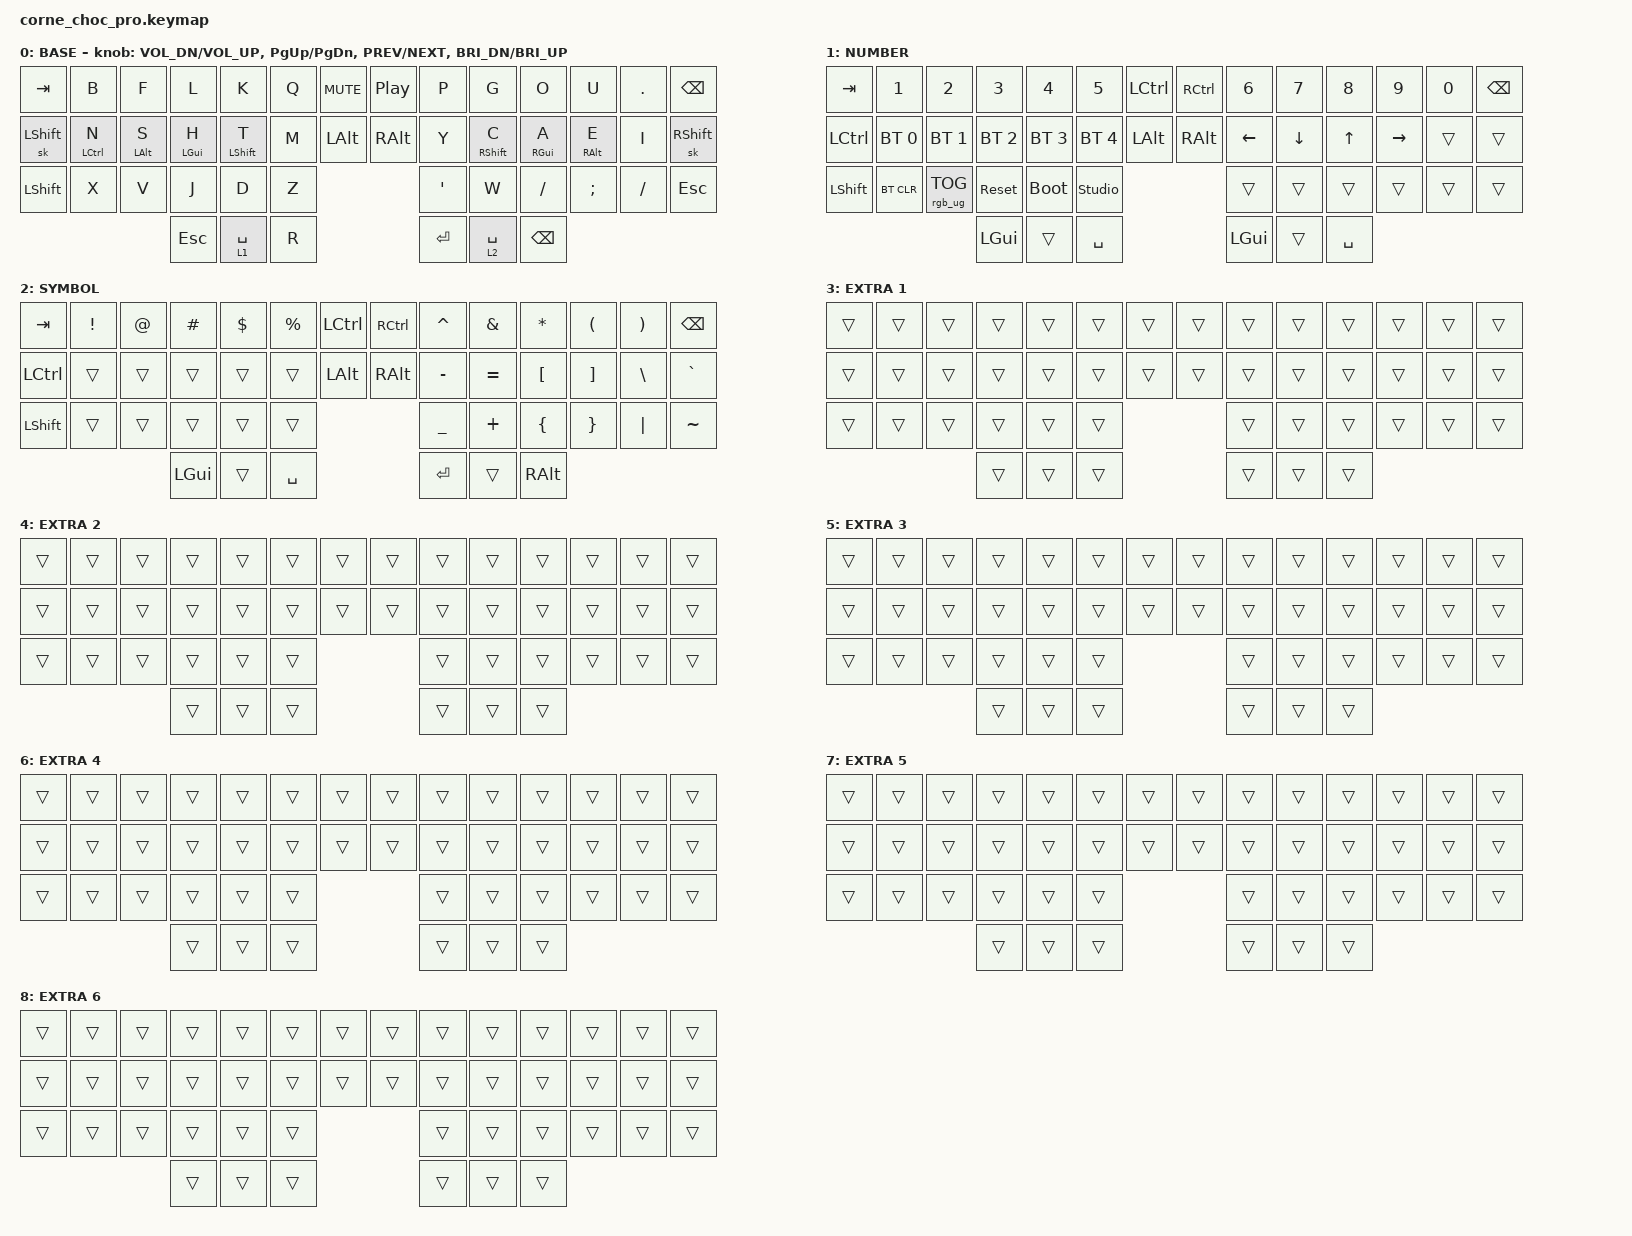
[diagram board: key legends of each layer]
/*
 * Copyright (c) 2020 The ZMK Contributors
 *
 * SPDX-License-Identifier: MIT
 */

#include <behaviors.dtsi>
#include <dt-bindings/zmk/bt.h>
#include <dt-bindings/zmk/keys.h>
#include <dt-bindings/zmk/rgb.h>

/ {
    chosen { zmk,physical-layout = &default_layout; };
};

/ {
    behaviors {
        HMShiftR: HMShiftR {
            compatible = "zmk,behavior-hold-tap";
            label = "HMSHIFTR";
            bindings = <&kp>, <&kp>;

            #binding-cells = <2>;
            tapping-term-ms = <200>;
            hold-while-undecided;
            hold-trigger-key-positions = <0 1 2 3 4 5 6 14 15 16 17 18 19 20 28 29 30 31 32 33 40 41 42>;
            hold-trigger-on-release;
        };

        HMShiftL: HMShiftL {
            compatible = "zmk,behavior-hold-tap";
            label = "HMSHIFTL";
            bindings = <&kp>, <&kp>;

            #binding-cells = <2>;
            tapping-term-ms = <200>;
            hold-while-undecided;
            hold-trigger-on-release;
            hold-trigger-key-positions = <7 8 9 10 11 12 13 21 22 23 24 25 26 27 34 35 36 37 38 39 43 44 45>;
        };

        HMR: HMR {
            compatible = "zmk,behavior-hold-tap";
            label = "HMR";
            bindings = <&kp>, <&kp>;

            #binding-cells = <2>;
            tapping-term-ms = <200>;
            hold-while-undecided;
            hold-trigger-key-positions = <0 1 2 3 4 5 6 14 15 16 17 18 19 20 28 29 30 31 32 33 40 41 42>;
            hold-trigger-on-release;
            flavor = "tap-preferred";
        };

        HML: HML {
            compatible = "zmk,behavior-hold-tap";
            label = "HML";
            bindings = <&kp>, <&kp>;

            #binding-cells = <2>;
            tapping-term-ms = <200>;
            hold-while-undecided;
            hold-trigger-on-release;
            hold-trigger-key-positions = <7 8 9 10 11 12 13 21 22 23 24 25 26 27 34 35 36 37 38 39 43 44 45>;
            flavor = "tap-preferred";
        };
    };

    combos {
        compatible = "zmk,combos";

        ret {
            bindings = <&kp RETURN>;
            key-positions = <18 17 16>;
            timeout-ms = <30>;
            require-prior-idle-ms = <50>;
            layers = <0>;
        };
    };

    keymap {
        compatible = "zmk,keymap";

        default_layer {
            display-name = "BASE";

            // --------------------------------------------------------------------------------
            // |  TAB |  Q  |  W  |  E  |  R  |  T  |  MUTE |  PP   |  Y  |  U   |  I  |  O  |  P  | BSPC |
            // | CTRL |  A  |  S  |  D  |  F  |  G  |  LALT |  RALT |  H  |  J   |  K  |  L  |  ;  |  '   |
            // | SHFT |  Z  |  X  |  C  |  V  |  B  |               |  N  |  M   |  ,  |  .  |  /  | ESC  |
            //                    | GUI | LWR | SPC |               | ENT | RSE  | ALT |

            bindings = <
&kp TAB         &kp B                &kp F            &kp L            &kp K                   &kp Q  &kp C_MUTE  &kp C_PP  &kp P    &kp G                    &kp O             &kp U             &kp PERIOD  &kp BSPC
&sk LEFT_SHIFT  &HML LEFT_CONTROL N  &HML LEFT_ALT S  &HML LEFT_GUI H  &HMShiftL LEFT_SHIFT T  &kp M  &kp LALT    &kp RALT  &kp Y    &HMShiftR RIGHT_SHIFT C  &HMR RIGHT_GUI A  &HMR RIGHT_ALT E  &kp I       &sk RIGHT_SHIFT
&kp LSHFT       &kp X                &kp V            &kp J            &kp D                   &kp Z                        &kp SQT  &kp W                    &kp SLASH         &kp SEMICOLON     &kp FSLH    &kp ESC
                                                      &kp ESCAPE       &lt 1 SPACE             &kp R                        &kp RET  &lt 2 SPACE              &kp BACKSPACE
            >;

            sensor-bindings = <&inc_dec_kp C_VOL_DN C_VOL_UP &inc_dec_kp PG_UP PG_DN &inc_dec_kp C_PREV C_NEXT &inc_dec_kp C_BRI_DN C_BRI_UP>;
        };

        lower_layer {
            display-name = "NUMBER";

            // -----------------------------------------------------------------------------------------
            // |  TAB |  1  |  2  |  3  |  4  |  5    |  LCTRL | RCTRL |  6  |  7  |  8  |  9  |  0  | BSPC |
            // | CTRL | BT1 | BT2 | BT3 | BT4 | BT5   |  LALT  | RALT  | LFT | DWN |  UP | RGT |     |      |
            // | SHFT | BTCR| RGB | RST | BOOT| Unlock|        |       |     |     |     |     |     |      |
            //                    | GUI |     | SPC   |        | ENT   |     | ALT |

            bindings = <
&kp TAB    &kp N1        &kp N2           &kp N3        &kp N4        &kp N5          &kp LCTRL  &kp RCTRL  &kp N6    &kp N7    &kp N8     &kp N9     &kp N0  &kp BSPC
&kp LCTRL  &bt BT_SEL 0  &bt BT_SEL 1     &bt BT_SEL 2  &bt BT_SEL 3  &bt BT_SEL 4    &kp LALT   &kp RALT   &kp LEFT  &kp DOWN  &kp UP     &kp RIGHT  &trans  &trans
&kp LSHFT  &bt BT_CLR    &rgb_ug RGB_TOG  &sys_reset    &bootloader   &studio_unlock                        &trans    &trans    &trans     &trans     &trans  &trans
                                          &kp LGUI      &trans        &kp SPACE                             &kp LGUI  &trans    &kp SPACE
            >;
        };

        raise_layer {
            display-name = "SYMBOL";

            // -----------------------------------------------------------------------------------------
            // |  TAB |  !  |  @  |  #  |  $  |  %  | LCTRL | RCTRL |  ^  |  &  |  *  |  (  |  )  | BSPC |
            // | CTRL |     |     |     |     |     |  LALT | RALT  |  -  |  =  |  [  |  ]  |  \  |  `   |
            // | SHFT |     |     |     |     |     |               |  _  |  +  |  {  |  }  | "|" |  ~   |
            //                    | GUI |     | SPC |               | ENT |     | ALT |

            bindings = <
&kp TAB    &kp EXCL  &kp AT  &kp HASH  &kp DLLR  &kp PRCNT  &kp LCTRL  &kp RCTRL  &kp CARET  &kp AMPS   &kp ASTRK  &kp LPAR  &kp RPAR  &kp BSPC
&kp LCTRL  &trans    &trans  &trans    &trans    &trans     &kp LALT   &kp RALT   &kp MINUS  &kp EQUAL  &kp LBKT   &kp RBKT  &kp BSLH  &kp GRAVE
&kp LSHFT  &trans    &trans  &trans    &trans    &trans                           &kp UNDER  &kp PLUS   &kp LBRC   &kp RBRC  &kp PIPE  &kp TILDE
                             &kp LGUI  &trans    &kp SPACE                        &kp RET    &trans     &kp RALT
            >;
        };

        extra_layer_1 {
            display-name = "EXTRA 1";
            bindings = <
&trans  &trans  &trans  &trans  &trans  &trans  &trans  &trans  &trans  &trans  &trans  &trans  &trans  &trans
&trans  &trans  &trans  &trans  &trans  &trans  &trans  &trans  &trans  &trans  &trans  &trans  &trans  &trans
&trans  &trans  &trans  &trans  &trans  &trans                  &trans  &trans  &trans  &trans  &trans  &trans
                        &trans  &trans  &trans                  &trans  &trans  &trans
            >;
        };

        extra_layer_2 {
            display-name = "EXTRA 2";
            bindings = <
&trans  &trans  &trans  &trans  &trans  &trans  &trans  &trans  &trans  &trans  &trans  &trans  &trans  &trans
&trans  &trans  &trans  &trans  &trans  &trans  &trans  &trans  &trans  &trans  &trans  &trans  &trans  &trans
&trans  &trans  &trans  &trans  &trans  &trans                  &trans  &trans  &trans  &trans  &trans  &trans
                        &trans  &trans  &trans                  &trans  &trans  &trans
            >;
        };

        extra_layer_3 {
            display-name = "EXTRA 3";
            bindings = <
&trans  &trans  &trans  &trans  &trans  &trans  &trans  &trans  &trans  &trans  &trans  &trans  &trans  &trans
&trans  &trans  &trans  &trans  &trans  &trans  &trans  &trans  &trans  &trans  &trans  &trans  &trans  &trans
&trans  &trans  &trans  &trans  &trans  &trans                  &trans  &trans  &trans  &trans  &trans  &trans
                        &trans  &trans  &trans                  &trans  &trans  &trans
            >;
        };

        extra_layer_4 {
            display-name = "EXTRA 4";
            bindings = <
&trans  &trans  &trans  &trans  &trans  &trans  &trans  &trans  &trans  &trans  &trans  &trans  &trans  &trans
&trans  &trans  &trans  &trans  &trans  &trans  &trans  &trans  &trans  &trans  &trans  &trans  &trans  &trans
&trans  &trans  &trans  &trans  &trans  &trans                  &trans  &trans  &trans  &trans  &trans  &trans
                        &trans  &trans  &trans                  &trans  &trans  &trans
            >;
        };

        extra_layer_5 {
            display-name = "EXTRA 5";
            bindings = <
&trans  &trans  &trans  &trans  &trans  &trans  &trans  &trans  &trans  &trans  &trans  &trans  &trans  &trans
&trans  &trans  &trans  &trans  &trans  &trans  &trans  &trans  &trans  &trans  &trans  &trans  &trans  &trans
&trans  &trans  &trans  &trans  &trans  &trans                  &trans  &trans  &trans  &trans  &trans  &trans
                        &trans  &trans  &trans                  &trans  &trans  &trans
            >;
        };

        extra_layer_6 {
            display-name = "EXTRA 6";
            bindings = <
&trans  &trans  &trans  &trans  &trans  &trans  &trans  &trans  &trans  &trans  &trans  &trans  &trans  &trans
&trans  &trans  &trans  &trans  &trans  &trans  &trans  &trans  &trans  &trans  &trans  &trans  &trans  &trans
&trans  &trans  &trans  &trans  &trans  &trans                  &trans  &trans  &trans  &trans  &trans  &trans
                        &trans  &trans  &trans                  &trans  &trans  &trans
            >;
        };
    };
};
